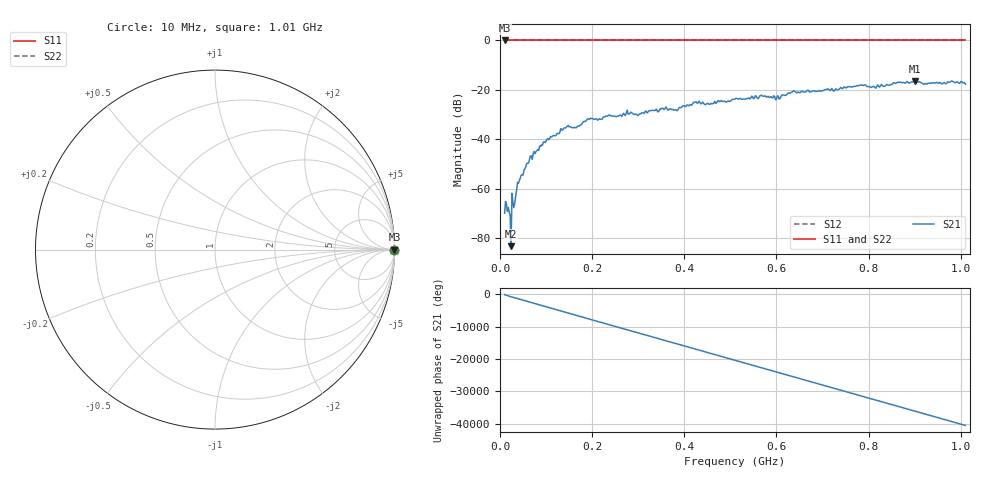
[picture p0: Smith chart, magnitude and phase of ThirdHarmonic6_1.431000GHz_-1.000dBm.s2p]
! 8/16/2025 4:30:20 PM
! C:\ANRITSUVNA\TEMP\TEMP.S2P
! CHANNEL.1
! TR.MEASUREMENT
! RAW.DATA
! RF.CORRECTION.OFF
! AVERAGING.OFF
! IF.BANDWIDTH: 5KHZ
! SWEEPTYPE:  FREQ.SWEEP(Linear)
! Reference Plane Port Info
! PORT:  PORT1  PORT2
! DISTANCE:  0  m  0  m
! TIME:  0  s  0  s
! PHASE.OFFSET:  0  deg.  0  deg.
! LOSS:  0  dB  0  dB
! REF.LOSS:  0  dB  0  dB
! REF.FREQ:  0  Hz  0  Hz
! Power Info
! POWER:  -20  dBm  -20  dBm
! EFF.POWER:  -20  dBm  -20  dBm
! SOURCE.ATTEN:  0  dB  0  dB
! TEST.ATTEN:  0  dB  0  dB
# GHZ S RI R 50.0
! FREQ.GHZ  S11RE  S11IM  S21RE  S21IM  S12RE  S12IM  S22RE  S22IM
!; PortSelection: Port_12
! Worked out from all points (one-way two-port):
!   501 points, 10 MHz to 1.01 GHz, reference 50 ohm
!   highest |S21| = -16.37 dB at 900 MHz (marker M1); lowest = -83.2 dB at 24 MHz (marker M2)
!   lowest |S11| = 0.0 dB at 10 MHz (marker M3)
!   |S11| at or under -10 dB: nowhere
!   |S22| runs from 0.0 to 0.0 dB; largest |S21 - S12| = 1.1
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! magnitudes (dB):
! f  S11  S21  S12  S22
! 10 MHz  0.0  -69.9  0.0  0.0
! 16 MHz  0.0  -69.1  0.0  0.0
! 20 MHz  0.0  -69.5  0.0  0.0
! 24 MHz  0.0  -83.2  0.0  0.0
! 28 MHz  0.0  -65.4  0.0  0.0
! 30 MHz  0.0  -67.6  0.0  0.0
! 32 MHz  0.0  -65.9  0.0  0.0
! 42 MHz  0.0  -56.7  0.0  0.0
! 70 MHz  0.0  -48.1  0.0  0.0
! 98 MHz  0.0  -41.3  0.0  0.0
! 136 MHz  0.0  -36.3  0.0  0.0
! 178 MHz  0.0  -33.7  0.0  0.0
! 234 MHz  0.0  -30.6  0.0  0.0
! 344 MHz  0.0  -28.8  0.0  0.0
! 510 MHz  0.0  -23.7  0.0  0.0
! 568 MHz  0.0  -22.2  0.0  0.0
! 602 MHz  0.0  -22.4  0.0  0.0
! 636 MHz  0.0  -20.6  0.0  0.0
! 678 MHz  0.0  -20.5  0.0  0.0
! 844 MHz  0.0  -18.2  0.0  0.0
! 900 MHz  0.0  -16.4  0.0  0.0
! 1.01 GHz  0.0  -17.7  0.0  0.0
